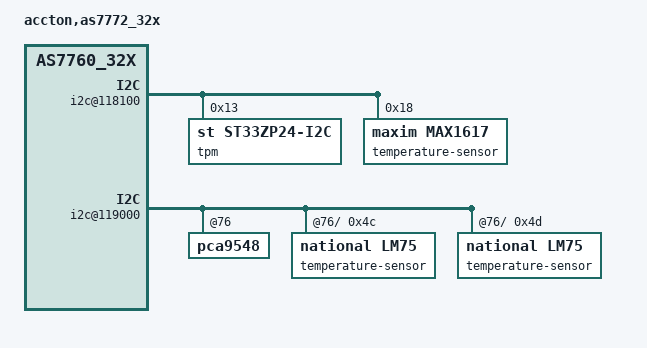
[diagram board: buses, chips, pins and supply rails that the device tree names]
/*
 * Accton AS7772-32X: appended to ../as7760/as7760-vendor.dts (same board; the
 * ONIE trees of the two differ only in the model string). Keeps the AS7760
 * compatible so the shared kernel's corenet machine entry matches.
 * Adds what the AS7772 diag I2C map lists and the AS7760 tree lacks:
 * LM75_4/LM75_5 (0x4c/0x4d) next to the other board sensors, and on I2C2
 * (i2c@118100) the TPM (0x13) and the MAX1617A local/remote sensor (0x18).
 * The AS7760's pca9546@77 on I2C2 does not exist here (0x77 does not ACK,
 * "pca954x 1-0077: probe failed"), so it is dropped.
 * Evidence: devices/edge-core-as7772-32x/tpm-sensor.md.
 */
/ {
	model = "accton,as7772_32x";
	compatible = "accton,as7772_32x", "accton,as7760_32x";

	soc@ffe000000 {
		i2c@118100 {
			/delete-node/ pca9546@77;

			/* ST33ZP24 TPM 1.2 (vendor DT "st33,st33zp24_i2c"); polled, no IRQ or LPCPD GPIO described by the vendor. */
			tpm@13 { compatible = "st,st33zp24-i2c"; reg = <0x13>; };
			/* IDs 0x4d/0x01 = MAX1617A (vendor DT: ne1617a, "nxp,max1617a"); lm90 driver, matched by I2C name. */
			temperature-sensor@18 { compatible = "maxim,max1617"; reg = <0x18>; };
		};
		i2c@119000 {
			pca9548@76 {
				i2c@1 {
					temperature-sensor@4c { compatible = "national,lm75"; reg = <0x4c>; };
					temperature-sensor@4d { compatible = "national,lm75"; reg = <0x4d>; };
				};
			};
		};
	};
};
